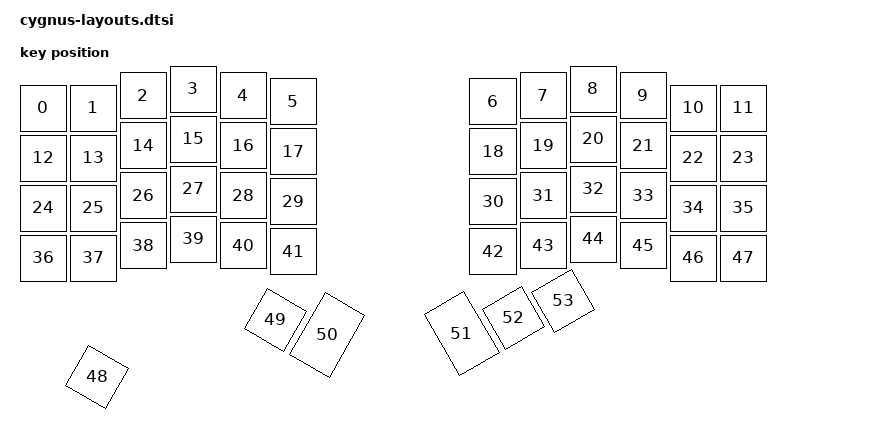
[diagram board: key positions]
#include <physical_layouts.dtsi>

/ {
    physical_layout0: physical_layout_0 {
        compatible = "zmk,physical-layout";
        display-name = "Default";

        kscan = <&kscan0>;
        transform = <&matrix_transform0>;

        keys  //                     w   h    x    y     rot    rx    ry
            = <&key_physical_attrs 100 100    0   38       0     0     0>
            , <&key_physical_attrs 100 100  100   38       0     0     0>
            , <&key_physical_attrs 100 100  200   13       0     0     0>
            , <&key_physical_attrs 100 100  300    0       0     0     0>
            , <&key_physical_attrs 100 100  400   13       0     0     0>
            , <&key_physical_attrs 100 100  500   25       0     0     0>
            , <&key_physical_attrs 100 100  900   25       0     0     0>
            , <&key_physical_attrs 100 100 1000   13       0     0     0>
            , <&key_physical_attrs 100 100 1100    0       0     0     0>
            , <&key_physical_attrs 100 100 1200   13       0     0     0>
            , <&key_physical_attrs 100 100 1300   38       0     0     0>
            , <&key_physical_attrs 100 100 1400   38       0     0     0>
            , <&key_physical_attrs 100 100    0  138       0     0     0>
            , <&key_physical_attrs 100 100  100  138       0     0     0>
            , <&key_physical_attrs 100 100  200  113       0     0     0>
            , <&key_physical_attrs 100 100  300  100       0     0     0>
            , <&key_physical_attrs 100 100  400  113       0     0     0>
            , <&key_physical_attrs 100 100  500  125       0     0     0>
            , <&key_physical_attrs 100 100  900  125       0     0     0>
            , <&key_physical_attrs 100 100 1000  113       0     0     0>
            , <&key_physical_attrs 100 100 1100  100       0     0     0>
            , <&key_physical_attrs 100 100 1200  113       0     0     0>
            , <&key_physical_attrs 100 100 1300  138       0     0     0>
            , <&key_physical_attrs 100 100 1400  138       0     0     0>
            , <&key_physical_attrs 100 100    0  238       0     0     0>
            , <&key_physical_attrs 100 100  100  238       0     0     0>
            , <&key_physical_attrs 100 100  200  213       0     0     0>
            , <&key_physical_attrs 100 100  300  200       0     0     0>
            , <&key_physical_attrs 100 100  400  213       0     0     0>
            , <&key_physical_attrs 100 100  500  225       0     0     0>
            , <&key_physical_attrs 100 100  900  225       0     0     0>
            , <&key_physical_attrs 100 100 1000  213       0     0     0>
            , <&key_physical_attrs 100 100 1100  200       0     0     0>
            , <&key_physical_attrs 100 100 1200  213       0     0     0>
            , <&key_physical_attrs 100 100 1300  238       0     0     0>
            , <&key_physical_attrs 100 100 1400  238       0     0     0>
            , <&key_physical_attrs 100 100    0  338       0     0     0>
            , <&key_physical_attrs 100 100  100  338       0     0     0>
            , <&key_physical_attrs 100 100  200  313       0     0     0>
            , <&key_physical_attrs 100 100  300  300       0     0     0>
            , <&key_physical_attrs 100 100  400  313       0     0     0>
            , <&key_physical_attrs 100 100  500  325       0     0     0>
            , <&key_physical_attrs 100 100  900  325       0     0     0>
            , <&key_physical_attrs 100 100 1000  313       0     0     0>
            , <&key_physical_attrs 100 100 1100  300       0     0     0>
            , <&key_physical_attrs 100 100 1200  313       0     0     0>
            , <&key_physical_attrs 100 100 1300  338       0     0     0>
            , <&key_physical_attrs 100 100 1400  338       0     0     0>
            , <&key_physical_attrs 100 100  400  413    3000     0     0>
            , <&key_physical_attrs 100 100  310  440    3000   398   790>
            , <&key_physical_attrs 100 150  415  390    3000   398   790>
            , <&key_physical_attrs 100 150  992  390 (-3000)  1102   790>
            , <&key_physical_attrs 100 100 1097  440 (-3000)  1102   790>
            , <&key_physical_attrs 100 100 1200  460 (-3000)  1102   790>
            ;
    };
};
